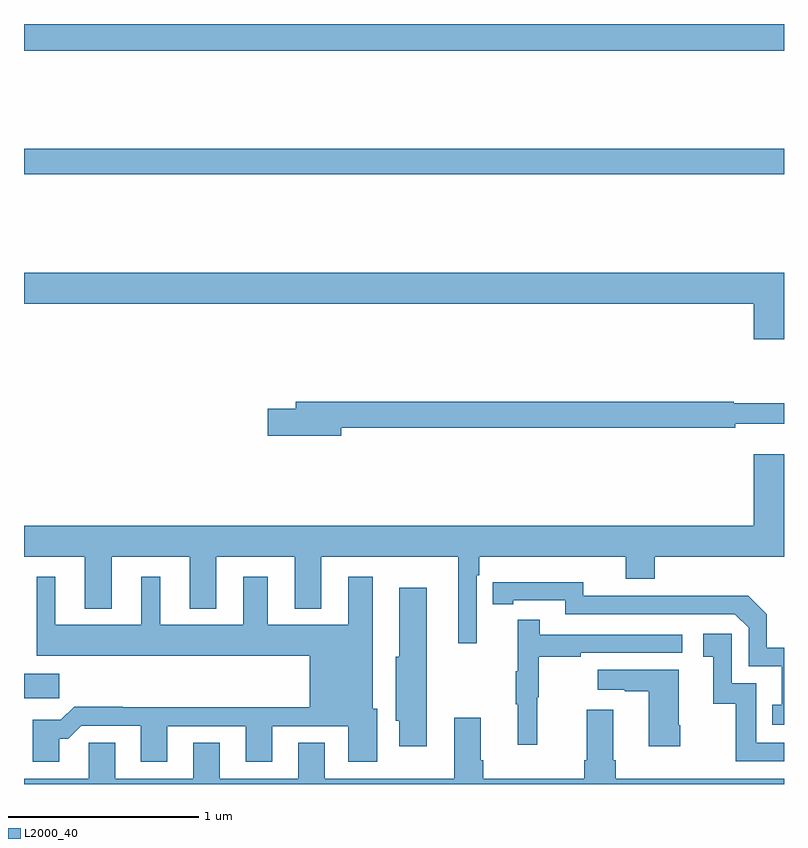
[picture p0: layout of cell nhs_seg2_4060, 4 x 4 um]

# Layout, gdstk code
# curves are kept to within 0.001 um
import gdstk
lib = gdstk.Library(unit=1e-6, precision=1e-09)
def R(c, l, rs):  # rectangles x0, y0, x1, y1
    for r in rs: c.add(gdstk.rectangle(r[:2], r[2:], *l))
def P(c, l, *ps):  # polygons
    for p in ps: c.add(gdstk.Polygon(p, *l))
L2000_40 = (2000, 40)

nhs_seg2_4060 = lib.new_cell('nhs_seg2_4060')
R(nhs_seg2_4060, L2000_40, [(329,620.251,329.185,620.38), (329,623.008,333,623.144), (329,623.66,333,623.8)])
P(nhs_seg2_4060, L2000_40, [(329,622.328),(332.84,622.328),(332.84,622.14),(333,622.14),(333,622.492),(329,622.492)],
  [(330.67,621.676),(332.744,621.676),(332.744,621.695),(333,621.695),(333,621.805),(332.735,621.805),(332.735,621.812),(330.431,621.812),(330.431,621.776),(330.282,621.776),(330.282,621.634),(330.67,621.634)],
  [(331.383,620.9),(331.397,620.9),(331.397,620.996),(332.168,620.996),(332.168,620.879),(332.321,620.879),(332.321,620.996),(333,620.996),(333,621.535),(332.84,621.535),(332.84,621.16),(329,621.16),(329,620.996),(329.321,620.996),(329.321,620.723),(329.461,620.723),(329.461,620.996),(329.873,620.996),(329.873,620.723),(330.013,620.723),(330.013,620.996),(330.425,620.996),(330.425,620.723),(330.565,620.723),(330.565,620.996),(331.286,620.996),(331.286,620.541),(331.383,620.541)],
  [(329.185,620.039),(329.234,620.039),(329.301,620.106),(329.615,620.106),(329.615,619.917),(329.755,619.917),(329.755,620.103),(330.167,620.103),(330.167,619.917),(330.307,619.917),(330.307,620.103),(330.707,620.103),(330.707,619.917),(330.859,619.917),(330.859,620.196),(330.835,620.196),(330.835,620.89),(330.707,620.89),(330.707,620.638),(330.283,620.638),(330.283,620.89),(330.155,620.89),(330.155,620.638),(329.716,620.638),(329.716,620.89),(329.618,620.89),(329.618,620.638),(329.164,620.638),(329.164,620.89),(329.066,620.89),(329.066,620.474),(330.503,620.474),(330.503,620.204),(329.519,620.204),(329.519,620.207),(329.264,620.207),(329.194,620.137),(329.045,620.137),(329.045,619.917),(329.185,619.917)],
  [(333,620.517),(332.91,620.517),(332.91,620.694),(332.812,620.792),(332.404,620.792),(332.404,620.79),(331.944,620.79),(331.944,620.863),(331.468,620.862),(331.468,620.746),(331.576,620.746),(331.576,620.766),(331.848,620.766),(331.848,620.694),(332.742,620.694),(332.814,620.622),(332.814,620.421),(332.987,620.421),(332.987,620.217),(332.938,620.217),(332.938,620.112),(333,620.112)],
  [(331.12,620.833),(330.974,620.833),(330.974,620.469),(330.956,620.469),(330.956,620.133),(330.974,620.133),(330.974,619.998),(331.12,619.998)],
  [(331.7,620.256),(331.708,620.256),(331.708,620.47),(331.931,620.47),(331.931,620.49),(332.464,620.49),(332.464,620.586),(331.715,620.586),(331.715,620.665),(331.598,620.665),(331.598,620.393),(331.587,620.393),(331.587,620.219),(331.598,620.219),(331.598,620.007),(331.7,620.007)],
  [(333,620.016),(332.853,620.016),(332.853,620.331),(332.724,620.331),(332.724,620.59),(332.574,620.59),(332.574,620.469),(332.627,620.469),(332.627,620.223),(332.745,620.223),(332.745,619.92),(333,619.92)],
  [(332.454,620.11),(332.446,620.11),(332.446,620.401),(332.019,620.401),(332.019,620.297),(332.162,620.297),(332.162,620.287),(332.288,620.287),(332.288,619.998),(332.454,619.998)],
  [(333,619.828),(332.114,619.828),(332.114,619.924),(332.101,619.924),(332.101,620.191),(331.961,620.191),(331.961,619.924),(331.949,619.924),(331.949,619.828),(331.418,619.828),(331.418,619.924),(331.405,619.924),(331.405,620.149),(331.265,620.149),(331.265,619.828),(330.583,619.828),(330.583,620.018),(330.443,620.018),(330.443,619.828),(330.031,619.828),(330.031,620.018),(329.891,620.018),(329.891,619.828),(329.479,619.828),(329.479,620.018),(329.34,620.018),(329.34,619.828),(329,619.828),(329,619.8),(333,619.8)])

lib.write_gds('nhs_seg2_4060.gds')
